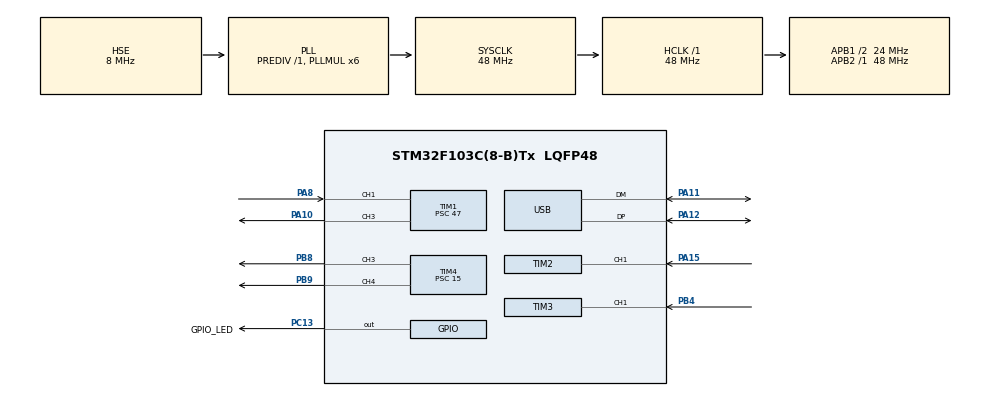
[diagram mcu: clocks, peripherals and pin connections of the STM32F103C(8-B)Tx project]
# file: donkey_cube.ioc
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Mcu.Family=STM32F1
Mcu.Name=STM32F103C(8-B)Tx
Mcu.Package=LQFP48
NVIC.PriorityGroup=NVIC_PRIORITYGROUP_4
NVIC.TIM1_UP_IRQn=true\:0\:0\:false\:false\:true\:true
NVIC.TIM4_IRQn=true\:0\:0\:false\:false\:true\:true
NVIC.USB_LP_CAN1_RX0_IRQn=true\:0\:0\:false\:false\:true\:true
PA10.Signal=S_TIM1_CH3
PA11.Mode=Device
PA11.Signal=USB_DM
PA12.Mode=Device
PA12.Signal=USB_DP
PA13.Mode=Serial_Wire
PA13.Signal=SYS_JTMS-SWDIO
PA14.Mode=Serial_Wire
PA14.Signal=SYS_JTCK-SWCLK
PA15.Signal=S_TIM2_CH1_ETR
PA8.Signal=S_TIM1_CH1
PB4.Signal=S_TIM3_CH1
PB8.Signal=S_TIM4_CH3
PB9.Signal=S_TIM4_CH4
PC13-TAMPER-RTC.GPIO_Label=GPIO_LED
PC13-TAMPER-RTC.GPIO_ModeDefaultOutputPP=GPIO_MODE_OUTPUT_PP
PC13-TAMPER-RTC.GPIO_PuPd=GPIO_NOPULL
PC13-TAMPER-RTC.GPIO_Speed=GPIO_SPEED_FREQ_LOW
PC13-TAMPER-RTC.PinState=GPIO_PIN_RESET
PC13-TAMPER-RTC.Signal=GPIO_Output
PD0-OSC_IN.Mode=HSE-External-Oscillator
PD0-OSC_IN.Signal=RCC_OSC_IN
PD1-OSC_OUT.Mode=HSE-External-Oscillator
PD1-OSC_OUT.Signal=RCC_OSC_OUT
ProjectManager.HeapSize=0x200
ProjectManager.StackSize=0x400
ProjectManager.TargetToolchain=SW4STM32
RCC.AHBCLKDivider=RCC_SYSCLK_DIV1
RCC.AHBFreq_Value=48000000
RCC.APB1CLKDivider=RCC_HCLK_DIV2
RCC.APB1Freq_Value=24000000
RCC.APB1TimFreq_Value=48000000
RCC.APB2Freq_Value=48000000
RCC.APB2TimFreq_Value=48000000
RCC.HCLKFreq_Value=48000000
RCC.OscillatorTypeHSI=RCC_OSCILLATORTYPE_HSI
RCC.PLLMUL=RCC_PLL_MUL6
RCC.PLLSourceVirtual=RCC_PLLSOURCE_HSE
RCC.SYSCLKFreq_VALUE=48000000
RCC.SYSCLKSource=RCC_SYSCLKSOURCE_PLLCLK
RCC.USBFreq_Value=48000000
SH.S_TIM1_CH1.0=TIM1_CH1,Input_Capture1_from_TI1
SH.S_TIM1_CH1.1=TIM1_CH1,Input_Capture2_from_TI1
SH.S_TIM1_CH3.0=TIM1_CH3,PWM Generation3 CH3
SH.S_TIM2_CH1_ETR.0=TIM2_CH1,PWM_Input_1
SH.S_TIM3_CH1.0=TIM3_CH1,PWM_Input_1
SH.S_TIM4_CH3.0=TIM4_CH3,PWM Generation3 CH3
SH.S_TIM4_CH4.0=TIM4_CH4,PWM Generation4 CH4
TIM1.Channel-Input_Capture1_from_TI1=TIM_CHANNEL_1
TIM1.Channel-Input_Capture2_from_TI1=TIM_CHANNEL_2
TIM1.Channel-PWM\ Generation3\ CH3=TIM_CHANNEL_3
TIM1.ICPolarity_CH1=TIM_INPUTCHANNELPOLARITY_FALLING
TIM1.Period=0xffff
TIM1.Prescaler=47
TIM1.Pulse-PWM\ Generation3\ CH3=15
TIM1.TIM_MasterSlaveMode=TIM_MASTERSLAVEMODE_DISABLE
TIM2.Period=59999
TIM2.Prescaler=15
TIM3.Period=59999
TIM3.Prescaler=15
TIM4.Channel-PWM\ Generation3\ CH3=TIM_CHANNEL_3
TIM4.Channel-PWM\ Generation4\ CH4=TIM_CHANNEL_4
TIM4.Period=49000
TIM4.Prescaler=15
TIM4.Pulse-PWM\ Generation3\ CH3=4500
TIM4.Pulse-PWM\ Generation4\ CH4=4500
USB_DEVICE.CLASS_NAME_FS=CDC
USB_DEVICE.VirtualMode=Cdc
USB_DEVICE.VirtualModeFS=Cdc_FS
VP_TIM1_VS_ClockSourceINT.Mode=Internal
VP_USB_DEVICE_VS_USB_DEVICE_CDC_FS.Mode=CDC_FS
board=donkey_cube

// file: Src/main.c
/**
  ******************************************************************************
  * @file           : main.c
  * @brief          : Main program body
  ******************************************************************************
  * This notice applies to any and all portions of this file
  * that are not between comment pairs USER CODE BEGIN and
  * USER CODE END. Other portions of this file, whether
  * inserted by the user or by software development tools
  * are owned by their respective copyright owners.
  *
  * Copyright (c) 2018 STMicroelectronics International N.V.
  * All rights reserved.
  *
  * Redistribution and use in source and binary forms, with or without
  * modification, are permitted, provided that the following conditions are met:
  *
  * 1. Redistribution of source code must retain the above copyright notice,
  *    this list of conditions and the following disclaimer.
  * 2. Redistributions in binary form must reproduce the above copyright notice,
  *    this list of conditions and the following disclaimer in the documentation
  *    and/or other materials provided with the distribution.
  * 3. Neither the name of STMicroelectronics nor the names of other
  *    contributors to this software may be used to endorse or promote products
  *    derived from this software without specific written permission.
  * 4. This software, including modifications and/or derivative works of this
  *    software, must execute solely and exclusively on microcontroller or
  *    microprocessor devices manufactured by or for STMicroelectronics.
  * 5. Redistribution and use of this software other than as permitted under
  *    this license is void and will automatically terminate your rights under
  *    this license.
  *
  * THIS SOFTWARE IS PROVIDED BY STMICROELECTRONICS AND CONTRIBUTORS "AS IS"
  * AND ANY EXPRESS, IMPLIED OR STATUTORY WARRANTIES, INCLUDING, BUT NOT
  * LIMITED TO, THE IMPLIED WARRANTIES OF MERCHANTABILITY, FITNESS FOR A
  * PARTICULAR PURPOSE AND NON-INFRINGEMENT OF THIRD PARTY INTELLECTUAL PROPERTY
  * RIGHTS ARE DISCLAIMED TO THE FULLEST EXTENT PERMITTED BY LAW. IN NO EVENT
  * SHALL STMICROELECTRONICS OR CONTRIBUTORS BE LIABLE FOR ANY DIRECT, INDIRECT,
  * INCIDENTAL, SPECIAL, EXEMPLARY, OR CONSEQUENTIAL DAMAGES (INCLUDING, BUT NOT
  * LIMITED TO, PROCUREMENT OF SUBSTITUTE GOODS OR SERVICES; LOSS OF USE, DATA,
  * OR PROFITS; OR BUSINESS INTERRUPTION) HOWEVER CAUSED AND ON ANY THEORY OF
  * LIABILITY, WHETHER IN CONTRACT, STRICT LIABILITY, OR TORT (INCLUDING
  * NEGLIGENCE OR OTHERWISE) ARISING IN ANY WAY OUT OF THE USE OF THIS SOFTWARE,
  * EVEN IF ADVISED OF THE POSSIBILITY OF SUCH DAMAGE.
  *
  ******************************************************************************
  */
#include "main.h"
#include "stm32f1xx_hal.h"
#include "usb_device.h"

/* USER CODE BEGIN Includes */
#include "usbd_cdc_if.h"
/* USER CODE END Includes */

TIM_HandleTypeDef htim1;
TIM_HandleTypeDef htim2;
TIM_HandleTypeDef htim3;
TIM_HandleTypeDef htim4;

/* USER CODE BEGIN PV */
/* Private variables ---------------------------------------------------------*/

const uint16_t InputTimerResolution_cycles = 60000;
const uint16_t InputTimerPeriodDuration_microseconds = 20000;

#define htim_steer htim2
#define TIM_STEER_CHANNEL_DUTY TIM_CHANNEL_2
#define TIM_STEER_CHANNEL_PERIOD TIM_CHANNEL_1
volatile uint16_t SteerPWMPeriod_cycles;
volatile uint16_t SteerPWMPeriod_microseconds;
volatile uint16_t SteerPWMDuty_cycles;
volatile uint16_t SteerPWMDuty_microseconds;

#define htim_throttle htim3
#define TIM_THROTTLE_CHANNEL_DUTY TIM_CHANNEL_2
#define TIM_THROTTLE_CHANNEL_PERIOD TIM_CHANNEL_1
volatile uint16_t ThrottlePWMPeriod_cycles;
volatile uint16_t ThrottlePWMPeriod_microseconds;
volatile uint16_t ThrottlePWMDuty_cycles;
volatile uint16_t ThrottlePWMDuty_microseconds;

#define htim_servo htim4
#define TIMSERVO TIM4
#define CCR_STEER CCR3
#define CCR_THROTTLE CCR4
#define TIM_SERVO_CHANNEL_STEER TIM_CHANNEL_3
#define TIM_SERVO_CHANNEL_THROTTLE TIM_CHANNEL_4

#define htim_us htim1
#define TIMUS TIM1
#define TIM_US_CHANNEL_POS TIM_CHANNEL_1
#define TIM_US_CHANNEL_NEG TIM_CHANNEL_2
#define TIM_US_CHANNEL_TRIG TIM_CHANNEL_3

uint16_t us_pos, us_neg;
uint16_t dist;

#define AUTO_STEER 0x01U
#define AUTO_THROTTLE 0x02U
#define THROTTLE_AUTO_DISENGAGE_TH 4200  // If THROTTLE < THROTTLE_AUTO_DISENGAGE_TH autonomy is disabled
volatile uint8_t AutoMask;

#define CMD_NOOP 0x00U
#define CMD_SET_SERVOS 0x01U
#define CMD_SET_STEER_LIMITS 0x02U
#define CMD_SET_THROTTLE_LIMITS 0x03U

// Beware of padding - Command comes 3rd, to be 16bit-aligned!
typedef struct _STRUCT_RX_MSG {
	uint16_t SteerDuty;
	uint16_t ThrottleDuty;
	uint8_t Command;
	uint8_t AutoMaskEnable;
	uint8_t AutoMaskNReset;
} STRUCT_RX_MSG;

typedef struct _STRUCT_TX_MSG {
	uint16_t SteerDuty;
	uint16_t ThrottleDuty;
	uint16_t Dist;
	uint8_t AutoMaskEnable;
} STRUCT_TX_MSG;

// const uint16_t SteerDutyHardMin(3242), SteerDutyHardMax();
// const uint16_t ThrottleDutyHardMin, ThrottleDutyHardMax;
uint16_t SteerDutyMin, SteerDutyMax;
uint16_t ThrottleDutyMin, ThrottleDutyMax;

STRUCT_RX_MSG uart_rx_msg;
STRUCT_TX_MSG uart_tx_msg;

/* USER CODE END PV */

void SystemClock_Config(void);
static void MX_GPIO_Init(void);
static void MX_TIM2_Init(void);
static void MX_TIM3_Init(void);
static void MX_TIM4_Init(void);
static void MX_TIM1_Init(void);
void HAL_TIM_MspPostInit(TIM_HandleTypeDef *htim);

/* USER CODE BEGIN PFP */
/* Private function prototypes -----------------------------------------------*/

#define CLIP(v, low, high) MAX(MIN(v, high), low)

void HAL_TIM_PeriodElapsedCallback(TIM_HandleTypeDef *htim) {
	if (htim->Instance == TIMSERVO) {
		SteerPWMDuty_cycles = HAL_TIM_ReadCapturedValue(&htim_steer,
				TIM_STEER_CHANNEL_DUTY) + 1;
		//	  SteerPWMDuty_microseconds = ((SteerPWMDuty_cycles * InputTimerPeriodDuration_microseconds) /
		//	                                      (InputTimerResolution_cycles));
		//
		//	  SteerPWMPeriod_cycles = HAL_TIM_ReadCapturedValue(&htim_steer, TIM_STEER_CHANNEL_PERIOD) + 1;
		//	  SteerPWMPeriod_microseconds = ((SteerPWMPeriod_cycles * InputTimerPeriodDuration_microseconds) /
		//			                        (InputTimerResolution_cycles));

		ThrottlePWMDuty_cycles = HAL_TIM_ReadCapturedValue(&htim_throttle,
				TIM_THROTTLE_CHANNEL_DUTY) + 1;
		//	  ThrottlePWMDuty_microseconds = ((ThrottlePWMDuty_cycles * InputTimerPeriodDuration_microseconds) /
		//                                      (InputTimerResolution_cycles));
		//	  ThrottlePWMPeriod_cycles = HAL_TIM_ReadCapturedValue(&htim_throttle, TIM_THROTTLE_CHANNEL_PERIOD) + 1;
		//
		//	  ThrottlePWMPeriod_microseconds = ((ThrottlePWMPeriod_cycles * InputTimerPeriodDuration_microseconds) /
		//			                            (InputTimerResolution_cycles));

		// First disable the autonomy, if we were asked to do so
		AutoMask &= ~uart_rx_msg.AutoMaskNReset;
		// Then optionally enable the autnomy
		AutoMask |= uart_rx_msg.AutoMaskEnable;

		// Then prefer the user input
		if (ThrottlePWMDuty_cycles < THROTTLE_AUTO_DISENGAGE_TH) {
			AutoMask = 0x00U;
		}

		TIMSERVO->CCR_STEER =
				CLIP(AutoMask & AUTO_STEER
					 ? uart_rx_msg.SteerDuty
					 : HAL_TIM_ReadCapturedValue(&htim_steer, TIM_STEER_CHANNEL_DUTY),
					 SteerDutyMin, SteerDutyMax);
		TIMSERVO->CCR_THROTTLE =
				CLIP(AutoMask & AUTO_THROTTLE
					 ? uart_rx_msg.ThrottleDuty
					 : HAL_TIM_ReadCapturedValue(&htim_throttle, TIM_THROTTLE_CHANNEL_DUTY),
					 ThrottleDutyMin, ThrottleDutyMax);
	} else if (htim->Instance == TIMUS) {
		us_pos = HAL_TIM_ReadCapturedValue(&htim_us, TIM_US_CHANNEL_POS);
	    us_neg = HAL_TIM_ReadCapturedValue(&htim_us, TIM_US_CHANNEL_NEG);
	    dist = (us_pos - us_neg) * 170 / 1000;
	}
}

void USB_Recieved_CB(void* uart_rx_buf, uint32_t len) {
	STRUCT_RX_MSG* msg = (STRUCT_RX_MSG*)(uart_rx_buf);
	switch (msg->Command) {
	case CMD_SET_SERVOS:
		memcpy(&uart_rx_msg, uart_rx_buf, len);
		break;
	case CMD_SET_STEER_LIMITS:
		SteerDutyMin = msg->SteerDuty;
		SteerDutyMax = msg->ThrottleDuty;
		break;
	case CMD_SET_THROTTLE_LIMITS:
		ThrottleDutyMin = msg->SteerDuty;
		ThrottleDutyMax = msg->ThrottleDuty;
		break;
	case CMD_NOOP:
		break;
	}

	uart_tx_msg.SteerDuty = SteerPWMDuty_cycles;
	uart_tx_msg.ThrottleDuty = ThrottlePWMDuty_cycles;
	uart_tx_msg.Dist = dist;
	uart_tx_msg.AutoMaskEnable = AutoMask;

	HAL_GPIO_TogglePin(GPIO_LED_GPIO_Port, GPIO_LED_Pin);
	CDC_Transmit_FS((void*)&uart_tx_msg, sizeof(uart_tx_msg));
}
/* USER CODE END PFP */

int main(void)
{
  /* USER CODE BEGIN 1 */

  SteerDutyMin = 3240;
  SteerDutyMax = 5450;
  ThrottleDutyMin = 3985;
  ThrottleDutyMax = 5047;

  /* USER CODE END 1 */

  /* MCU Configuration----------------------------------------------------------*/

  /* Reset of all peripherals, Initializes the Flash interface and the Systick. */
  HAL_Init();

  /* Configure the system clock */
  SystemClock_Config();

  /* Initialize all configured peripherals */
  MX_GPIO_Init();
  MX_USB_DEVICE_Init();
  MX_TIM2_Init();
  MX_TIM3_Init();
  MX_TIM4_Init();
  MX_TIM1_Init();
  /* USER CODE BEGIN 2 */

  HAL_TIM_Base_Start_IT(&htim_us);
  HAL_TIM_IC_Start(&htim_us, TIM_US_CHANNEL_NEG);
  HAL_TIM_IC_Start(&htim_us, TIM_US_CHANNEL_POS);
  HAL_TIM_PWM_Start(&htim_us, TIM_US_CHANNEL_TRIG);

  HAL_TIM_IC_Start(&htim_steer, TIM_STEER_CHANNEL_PERIOD);
  HAL_TIM_IC_Start(&htim_steer, TIM_STEER_CHANNEL_DUTY);
  HAL_TIM_IC_Start(&htim_throttle, TIM_THROTTLE_CHANNEL_PERIOD);
  HAL_TIM_IC_Start(&htim_throttle, TIM_THROTTLE_CHANNEL_DUTY);

  HAL_TIM_Base_Start_IT(&htim_servo);
  HAL_TIM_PWM_Start(&htim_servo, TIM_SERVO_CHANNEL_STEER);
  HAL_TIM_PWM_Start(&htim_servo, TIM_SERVO_CHANNEL_THROTTLE);

  /* USER CODE END 2 */

  /* Infinite loop */
  while (1) {

  }

}

void SystemClock_Config(void)
{

  RCC_OscInitTypeDef RCC_OscInitStruct;
  RCC_ClkInitTypeDef RCC_ClkInitStruct;
  RCC_PeriphCLKInitTypeDef PeriphClkInit;

    /**Initializes the CPU, AHB and APB busses clocks
    */
  RCC_OscInitStruct.OscillatorType = RCC_OSCILLATORTYPE_HSI|RCC_OSCILLATORTYPE_HSE;
  RCC_OscInitStruct.HSEState = RCC_HSE_ON;
  RCC_OscInitStruct.HSEPredivValue = RCC_HSE_PREDIV_DIV1;
  RCC_OscInitStruct.HSIState = RCC_HSI_ON;
  RCC_OscInitStruct.PLL.PLLState = RCC_PLL_ON;
  RCC_OscInitStruct.PLL.PLLSource = RCC_PLLSOURCE_HSE;
  RCC_OscInitStruct.PLL.PLLMUL = RCC_PLL_MUL6;
  if (HAL_RCC_OscConfig(&RCC_OscInitStruct) != HAL_OK)
  {
    _Error_Handler(__FILE__, __LINE__);
  }

    /**Initializes the CPU, AHB and APB busses clocks
    */
  RCC_ClkInitStruct.ClockType = RCC_CLOCKTYPE_HCLK|RCC_CLOCKTYPE_SYSCLK
                              |RCC_CLOCKTYPE_PCLK1|RCC_CLOCKTYPE_PCLK2;
  RCC_ClkInitStruct.SYSCLKSource = RCC_SYSCLKSOURCE_PLLCLK;
  RCC_ClkInitStruct.AHBCLKDivider = RCC_SYSCLK_DIV1;
  RCC_ClkInitStruct.APB1CLKDivider = RCC_HCLK_DIV2;
  RCC_ClkInitStruct.APB2CLKDivider = RCC_HCLK_DIV1;

  if (HAL_RCC_ClockConfig(&RCC_ClkInitStruct, FLASH_LATENCY_1) != HAL_OK)
  {
    _Error_Handler(__FILE__, __LINE__);
  }

  PeriphClkInit.PeriphClockSelection = RCC_PERIPHCLK_USB;
  PeriphClkInit.UsbClockSelection = RCC_USBCLKSOURCE_PLL;
  if (HAL_RCCEx_PeriphCLKConfig(&PeriphClkInit) != HAL_OK)
  {
    _Error_Handler(__FILE__, __LINE__);
  }

    /**Configure the Systick interrupt time
    */
  HAL_SYSTICK_Config(HAL_RCC_GetHCLKFreq()/1000);

    /**Configure the Systick
    */
  HAL_SYSTICK_CLKSourceConfig(SYSTICK_CLKSOURCE_HCLK);

  /* SysTick_IRQn interrupt configuration */
  HAL_NVIC_SetPriority(SysTick_IRQn, 0, 0);
}

/* TIM1 init function */
static void MX_TIM1_Init(void)
{

  TIM_ClockConfigTypeDef sClockSourceConfig;
  TIM_MasterConfigTypeDef sMasterConfig;
  TIM_IC_InitTypeDef sConfigIC;
  TIM_OC_InitTypeDef sConfigOC;
  TIM_BreakDeadTimeConfigTypeDef sBreakDeadTimeConfig;

  htim1.Instance = TIM1;
  htim1.Init.Prescaler = 47;
  htim1.Init.CounterMode = TIM_COUNTERMODE_UP;
  htim1.Init.Period = 0xffff;
  htim1.Init.ClockDivision = TIM_CLOCKDIVISION_DIV1;
  htim1.Init.RepetitionCounter = 0;
  htim1.Init.AutoReloadPreload = TIM_AUTORELOAD_PRELOAD_DISABLE;
  if (HAL_TIM_Base_Init(&htim1) != HAL_OK)
  {
    _Error_Handler(__FILE__, __LINE__);
  }

  sClockSourceConfig.ClockSource = TIM_CLOCKSOURCE_INTERNAL;
  if (HAL_TIM_ConfigClockSource(&htim1, &sClockSourceConfig) != HAL_OK)
  {
    _Error_Handler(__FILE__, __LINE__);
  }

  if (HAL_TIM_IC_Init(&htim1) != HAL_OK)
  {
    _Error_Handler(__FILE__, __LINE__);
  }

  if (HAL_TIM_PWM_Init(&htim1) != HAL_OK)
  {
    _Error_Handler(__FILE__, __LINE__);
  }

  sMasterConfig.MasterOutputTrigger = TIM_TRGO_RESET;
  sMasterConfig.MasterSlaveMode = TIM_MASTERSLAVEMODE_DISABLE;
  if (HAL_TIMEx_MasterConfigSynchronization(&htim1, &sMasterConfig) != HAL_OK)
  {
    _Error_Handler(__FILE__, __LINE__);
  }

  sConfigIC.ICPolarity = TIM_INPUTCHANNELPOLARITY_FALLING;
  sConfigIC.ICSelection = TIM_ICSELECTION_DIRECTTI;
  sConfigIC.ICPrescaler = TIM_ICPSC_DIV1;
  sConfigIC.ICFilter = 0;
  if (HAL_TIM_IC_ConfigChannel(&htim1, &sConfigIC, TIM_CHANNEL_1) != HAL_OK)
  {
    _Error_Handler(__FILE__, __LINE__);
  }

  sConfigIC.ICPolarity = TIM_INPUTCHANNELPOLARITY_RISING;
  sConfigIC.ICSelection = TIM_ICSELECTION_INDIRECTTI;
  if (HAL_TIM_IC_ConfigChannel(&htim1, &sConfigIC, TIM_CHANNEL_2) != HAL_OK)
  {
    _Error_Handler(__FILE__, __LINE__);
  }

  sConfigOC.OCMode = TIM_OCMODE_PWM1;
  sConfigOC.Pulse = 15;
  sConfigOC.OCPolarity = TIM_OCPOLARITY_HIGH;
  sConfigOC.OCNPolarity = TIM_OCNPOLARITY_HIGH;
  sConfigOC.OCFastMode = TIM_OCFAST_DISABLE;
  sConfigOC.OCIdleState = TIM_OCIDLESTATE_RESET;
  sConfigOC.OCNIdleState = TIM_OCNIDLESTATE_RESET;
  if (HAL_TIM_PWM_ConfigChannel(&htim1, &sConfigOC, TIM_CHANNEL_3) != HAL_OK)
  {
    _Error_Handler(__FILE__, __LINE__);
  }

  sBreakDeadTimeConfig.OffStateRunMode = TIM_OSSR_DISABLE;
  sBreakDeadTimeConfig.OffStateIDLEMode = TIM_OSSI_DISABLE;
  sBreakDeadTimeConfig.LockLevel = TIM_LOCKLEVEL_OFF;
  sBreakDeadTimeConfig.DeadTime = 0;
  sBreakDeadTimeConfig.BreakState = TIM_BREAK_DISABLE;
  sBreakDeadTimeConfig.BreakPolarity = TIM_BREAKPOLARITY_HIGH;
  sBreakDeadTimeConfig.AutomaticOutput = TIM_AUTOMATICOUTPUT_DISABLE;
  if (HAL_TIMEx_ConfigBreakDeadTime(&htim1, &sBreakDeadTimeConfig) != HAL_OK)
  {
    _Error_Handler(__FILE__, __LINE__);
  }

  HAL_TIM_MspPostInit(&htim1);

}

/* TIM2 init function */
static void MX_TIM2_Init(void)
{

  TIM_SlaveConfigTypeDef sSlaveConfig;
  TIM_IC_InitTypeDef sConfigIC;
  TIM_MasterConfigTypeDef sMasterConfig;

  htim2.Instance = TIM2;
  htim2.Init.Prescaler = 15;
  htim2.Init.CounterMode = TIM_COUNTERMODE_UP;
  htim2.Init.Period = 59999;
  htim2.Init.ClockDivision = TIM_CLOCKDIVISION_DIV1;
  htim2.Init.AutoReloadPreload = TIM_AUTORELOAD_PRELOAD_DISABLE;
  if (HAL_TIM_IC_Init(&htim2) != HAL_OK)
  {
    _Error_Handler(__FILE__, __LINE__);
  }

  sSlaveConfig.SlaveMode = TIM_SLAVEMODE_RESET;
  sSlaveConfig.InputTrigger = TIM_TS_TI1FP1;
  sSlaveConfig.TriggerPolarity = TIM_INPUTCHANNELPOLARITY_RISING;
  sSlaveConfig.TriggerPrescaler = TIM_ICPSC_DIV1;
  sSlaveConfig.TriggerFilter = 0;
  if (HAL_TIM_SlaveConfigSynchronization(&htim2, &sSlaveConfig) != HAL_OK)
  {
    _Error_Handler(__FILE__, __LINE__);
  }

  sConfigIC.ICPolarity = TIM_INPUTCHANNELPOLARITY_RISING;
  sConfigIC.ICSelection = TIM_ICSELECTION_DIRECTTI;
  sConfigIC.ICPrescaler = TIM_ICPSC_DIV1;
  sConfigIC.ICFilter = 0;
  if (HAL_TIM_IC_ConfigChannel(&htim2, &sConfigIC, TIM_CHANNEL_1) != HAL_OK)
  {
    _Error_Handler(__FILE__, __LINE__);
  }

  sConfigIC.ICPolarity = TIM_INPUTCHANNELPOLARITY_FALLING;
  sConfigIC.ICSelection = TIM_ICSELECTION_INDIRECTTI;
  if (HAL_TIM_IC_ConfigChannel(&htim2, &sConfigIC, TIM_CHANNEL_2) != HAL_OK)
  {
    _Error_Handler(__FILE__, __LINE__);
  }

  sMasterConfig.MasterOutputTrigger = TIM_TRGO_RESET;
  sMasterConfig.MasterSlaveMode = TIM_MASTERSLAVEMODE_DISABLE;
  if (HAL_TIMEx_MasterConfigSynchronization(&htim2, &sMasterConfig) != HAL_OK)
  {
    _Error_Handler(__FILE__, __LINE__);
  }

}

/* TIM3 init function */
static void MX_TIM3_Init(void)
{

  TIM_SlaveConfigTypeDef sSlaveConfig;
  TIM_IC_InitTypeDef sConfigIC;
  TIM_MasterConfigTypeDef sMasterConfig;

  htim3.Instance = TIM3;
  htim3.Init.Prescaler = 15;
  htim3.Init.CounterMode = TIM_COUNTERMODE_UP;
  htim3.Init.Period = 59999;
  htim3.Init.ClockDivision = TIM_CLOCKDIVISION_DIV1;
  htim3.Init.AutoReloadPreload = TIM_AUTORELOAD_PRELOAD_DISABLE;
  if (HAL_TIM_IC_Init(&htim3) != HAL_OK)
  {
    _Error_Handler(__FILE__, __LINE__);
  }

  sSlaveConfig.SlaveMode = TIM_SLAVEMODE_RESET;
  sSlaveConfig.InputTrigger = TIM_TS_TI1FP1;
  sSlaveConfig.TriggerPolarity = TIM_INPUTCHANNELPOLARITY_RISING;
  sSlaveConfig.TriggerPrescaler = TIM_ICPSC_DIV1;
  sSlaveConfig.TriggerFilter = 0;
  if (HAL_TIM_SlaveConfigSynchronization(&htim3, &sSlaveConfig) != HAL_OK)
  {
    _Error_Handler(__FILE__, __LINE__);
  }

  sConfigIC.ICPolarity = TIM_INPUTCHANNELPOLARITY_RISING;
  sConfigIC.ICSelection = TIM_ICSELECTION_DIRECTTI;
  sConfigIC.ICPrescaler = TIM_ICPSC_DIV1;
  sConfigIC.ICFilter = 0;
  if (HAL_TIM_IC_ConfigChannel(&htim3, &sConfigIC, TIM_CHANNEL_1) != HAL_OK)
  {
    _Error_Handler(__FILE__, __LINE__);
  }

  sConfigIC.ICPolarity = TIM_INPUTCHANNELPOLARITY_FALLING;
  sConfigIC.ICSelection = TIM_ICSELECTION_INDIRECTTI;
  if (HAL_TIM_IC_ConfigChannel(&htim3, &sConfigIC, TIM_CHANNEL_2) != HAL_OK)
  {
    _Error_Handler(__FILE__, __LINE__);
  }

  sMasterConfig.MasterOutputTrigger = TIM_TRGO_RESET;
  sMasterConfig.MasterSlaveMode = TIM_MASTERSLAVEMODE_DISABLE;
  if (HAL_TIMEx_MasterConfigSynchronization(&htim3, &sMasterConfig) != HAL_OK)
  {
    _Error_Handler(__FILE__, __LINE__);
  }

}

/* TIM4 init function */
static void MX_TIM4_Init(void)
{

  TIM_MasterConfigTypeDef sMasterConfig;
  TIM_OC_InitTypeDef sConfigOC;

  htim4.Instance = TIM4;
  htim4.Init.Prescaler = 15;
  htim4.Init.CounterMode = TIM_COUNTERMODE_UP;
  htim4.Init.Period = 49000;
  htim4.Init.ClockDivision = TIM_CLOCKDIVISION_DIV1;
  htim4.Init.AutoReloadPreload = TIM_AUTORELOAD_PRELOAD_DISABLE;
  if (HAL_TIM_PWM_Init(&htim4) != HAL_OK)
  {
    _Error_Handler(__FILE__, __LINE__);
  }

  sMasterConfig.MasterOutputTrigger = TIM_TRGO_RESET;
  sMasterConfig.MasterSlaveMode = TIM_MASTERSLAVEMODE_DISABLE;
  if (HAL_TIMEx_MasterConfigSynchronization(&htim4, &sMasterConfig) != HAL_OK)
  {
    _Error_Handler(__FILE__, __LINE__);
  }

  sConfigOC.OCMode = TIM_OCMODE_PWM1;
  sConfigOC.Pulse = 4500;
  sConfigOC.OCPolarity = TIM_OCPOLARITY_HIGH;
  sConfigOC.OCFastMode = TIM_OCFAST_DISABLE;
  if (HAL_TIM_PWM_ConfigChannel(&htim4, &sConfigOC, TIM_CHANNEL_3) != HAL_OK)
  {
    _Error_Handler(__FILE__, __LINE__);
  }

  if (HAL_TIM_PWM_ConfigChannel(&htim4, &sConfigOC, TIM_CHANNEL_4) != HAL_OK)
  {
    _Error_Handler(__FILE__, __LINE__);
  }

  HAL_TIM_MspPostInit(&htim4);

}

/** Configure pins as
        * Analog
        * Input
        * Output
        * EVENT_OUT
        * EXTI
*/
static void MX_GPIO_Init(void)
{

  GPIO_InitTypeDef GPIO_InitStruct;

  /* GPIO Ports Clock Enable */
  __HAL_RCC_GPIOC_CLK_ENABLE();
  __HAL_RCC_GPIOD_CLK_ENABLE();
  __HAL_RCC_GPIOA_CLK_ENABLE();
  __HAL_RCC_GPIOB_CLK_ENABLE();

  /*Configure GPIO pin Output Level */
  HAL_GPIO_WritePin(GPIO_LED_GPIO_Port, GPIO_LED_Pin, GPIO_PIN_RESET);

  /*Configure GPIO pin : GPIO_LED_Pin */
  GPIO_InitStruct.Pin = GPIO_LED_Pin;
  GPIO_InitStruct.Mode = GPIO_MODE_OUTPUT_PP;
  GPIO_InitStruct.Pull = GPIO_NOPULL;
  GPIO_InitStruct.Speed = GPIO_SPEED_FREQ_LOW;
  HAL_GPIO_Init(GPIO_LED_GPIO_Port, &GPIO_InitStruct);

}

void _Error_Handler(char *file, int line)
{
  while(1)
  {
  }
}

/************************ (C) COPYRIGHT STMicroelectronics *****END OF FILE****/
